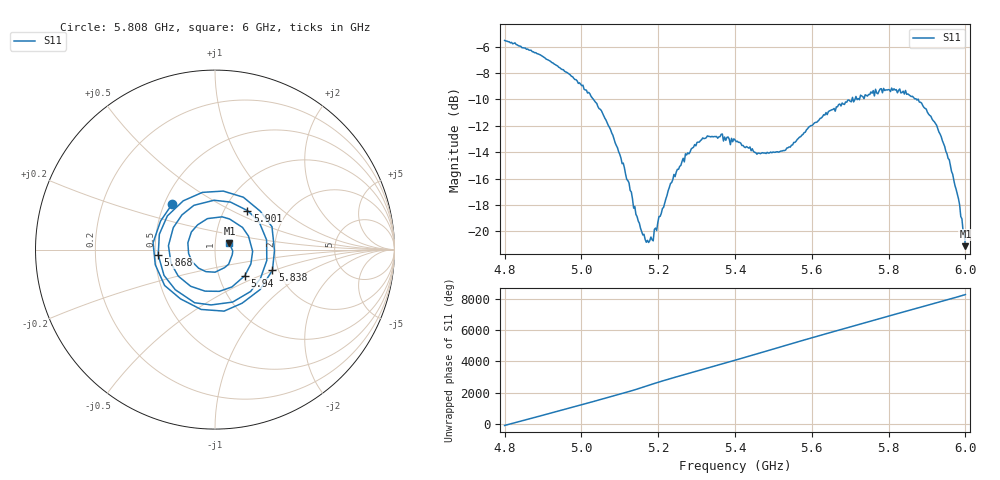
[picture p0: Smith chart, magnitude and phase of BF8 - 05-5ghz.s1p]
! NanoVNA-App
! Date: 2026-05-22 16:39:36
! Start: 4.8GHz Stop: 6GHz Points: 401
! S-Parameter data: F S11
# Hz S RI R 50
!  Frequency  S11_Real  S11_Imag
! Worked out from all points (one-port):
!   401 points, 4.8 GHz to 6 GHz, reference 50 ohm
!   lowest |S11| = -21.1 dB at 6 GHz (marker M1), VSWR 1.19, Z = 58.6 + j4.13 ohm
!   |S11| at or under -10 dB: 5.031 GHz to 5.705 GHz (673.1 MHz wide, 12.5 % of centre); 5.707351 GHz to 5.712272 GHz (4.922 MHz wide, 0.0862 % of centre); 5.877 GHz to end of sweep (the widest 3 of 6)
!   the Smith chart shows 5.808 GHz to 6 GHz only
!   S11 on the Smith chart (normalised r, x): 5.808 GHz: 0.55, +0.32; 5.838 GHz: 1.86, -0.48; 5.868 GHz: 0.52, -0.03; 5.901 GHz: 1.28, +0.61; 5.94 GHz: 1.33, -0.41; 6 GHz: 1.17, +0.08
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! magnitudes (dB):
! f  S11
! 4.8 GHz  -5.5
! 4.893 GHz  -6.6
! 4.95 GHz  -7.7
! 5.034 GHz  -10.1
! 5.07 GHz  -12.0
! 5.1 GHz  -14.2
! 5.148 GHz  -19.2
! 5.172 GHz  -20.7
! 5.19 GHz  -19.9
! 5.235 GHz  -16.3
! 5.25 GHz  -15.3
! 5.277 GHz  -14.1
! 5.322 GHz  -13.0
! 5.4 GHz  -13.1
! 5.463 GHz  -14.1
! 5.52 GHz  -13.9
! 5.55 GHz  -13.4
! 5.631 GHz  -11.2
! 5.7 GHz  -10.1
! 5.808 GHz  -9.1
! 5.838 GHz  -9.4
! 5.85 GHz  -9.6
! 5.868 GHz  -10.0
! 5.901 GHz  -11.0
! 5.94 GHz  -13.1
! 5.961 GHz  -15.0
! 5.979 GHz  -17.2
! 6 GHz  -21.1
